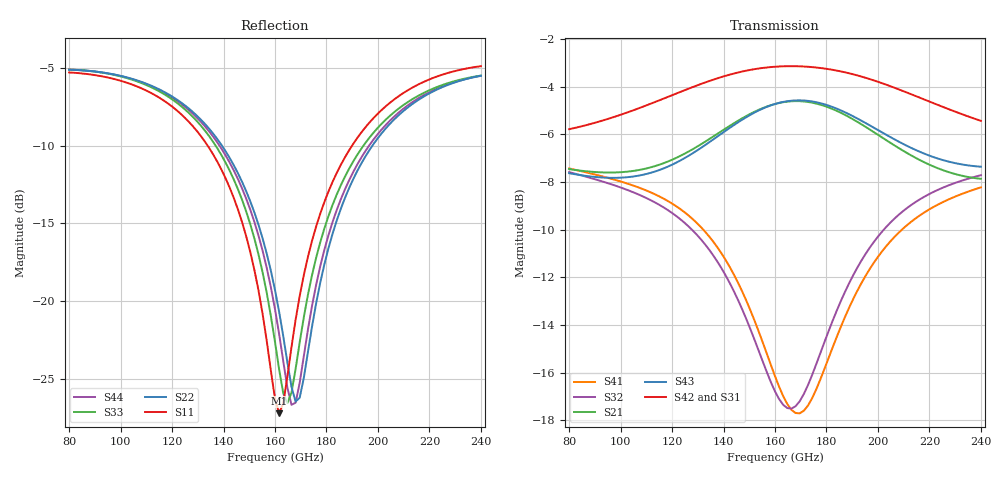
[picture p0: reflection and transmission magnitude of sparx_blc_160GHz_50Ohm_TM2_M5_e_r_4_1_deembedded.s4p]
! Created with skrf 2.0.1 (http://scikit-rf.org).
# GHz S DB R 50.0
!freq dBS11 angS11 dBS12 angS12 dBS13 angS13
! dBS14 angS14
! dBS21 angS21 dBS22 angS22 dBS23 angS23
! dBS24 angS24
! dBS31 angS31 dBS32 angS32 dBS33 angS33
! dBS34 angS34
! dBS41 angS41 dBS42 angS42 dBS43 angS43
! dBS44 angS44
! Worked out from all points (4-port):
!   101 points, 80 GHz to 240 GHz, reference 50 ohm
!   strongest paths, dB at 80 GHz, 120 GHz, 160 GHz, 200 GHz, 240 GHz:
!     S42: -5.8, -4.4, -3.2, -3.8, -5.4
!     S31: -5.7, -4.2, -3.1, -4.1, -5.7
!     S43: -7.6, -7.3, -4.7, -5.8, -7.4
!     S21: -7.5, -7.1, -4.7, -6.0, -7.9
!     S32: -7.6, -9.3, -16.8, -10.3, -7.7
!     S41: -7.4, -8.9, -16.1, -11.1, -8.2
!   lowest |S11| = -27.2 dB at 161.6 GHz (marker M1), VSWR 1.09, Z = 54.4 + j1.04 ohm
!   |S11| at or under -10 dB: 133.8 GHz to 189.9 GHz (56.12 GHz wide, 34.7 % of centre)
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80  -5.29 164.9  -7.45 -46.2  -5.70 -77.0  -7.43 -59.6
    -7.45 -46.2  -5.12 158.2  -7.58 -62.4  -5.78 -79.9
    -5.70 -77.0  -7.58 -62.4  -5.11 157.5  -7.63 -48.6
    -7.43 -59.6  -5.78 -79.9  -7.63 -48.6  -5.11 158.0
136  -10.57 119.1  -6.09 -65.8  -3.53 -139.2  -10.50 -105.8
     -6.09 -65.8  -9.23 110.5  -11.08 -108.3  -3.70 -142.8
     -3.53 -139.2  -11.08 -108.3  -9.76 106.5  -6.21 -67.8
     -10.50 -105.8  -3.70 -142.8  -6.21 -67.8  -9.42 109.0
150.4  -16.84 94.5  -5.14 -76.8  -3.17 -159.2  -13.37 -114.9
       -5.14 -76.8  -13.58 89.9  -14.16 -115.0  -3.29 -162.7
       -3.17 -159.2  -14.16 -115.0  -15.05 82.6  -5.18 -79.1
       -13.37 -114.9  -3.29 -162.7  -5.18 -79.1  -14.12 87.4
161.6  -27.21 12.6  -4.68 -88.0  -3.11 -175.2  -16.59 -108.5
       -4.68 -88.0  -20.67 60.0  -17.11 -103.1  -3.15 -178.7
       -3.11 -175.2  -17.11 -103.1  -24.38 33.7  -4.67 -90.5
       -16.59 -108.5  -3.15 -178.7  -4.67 -90.5  -22.10 52.5
169.6  -19.66 -63.5  -4.60 -96.7  -3.17 173.4  -17.71 -90.2
       -4.60 -96.7  -26.20 -23.3  -17.20 -83.7  -3.14 169.8
       -3.17 173.4  -17.20 -83.7  -22.64 -64.7  -4.57 -99.4
       -17.71 -90.2  -3.14 169.8  -4.57 -99.4  -25.24 -43.7
187.2  -10.74 -97.0  -5.18 -114.7  -3.58 149.3  -13.66 -69.0
       -5.18 -114.7  -13.36 -104.6  -12.61 -71.6  -3.39 144.7
       -3.58 149.3  -12.61 -71.6  -11.99 -112.6  -5.07 -117.7
       -13.66 -69.0  -3.39 144.7  -5.07 -117.7  -12.80 -108.3
240  -4.89 -141.6  -7.86 -140.2  -5.71 88.6  -8.22 -108.4
     -7.86 -140.2  -5.50 -160.2  -7.71 -116.9  -5.43 80.1
     -5.71 88.6  -7.71 -116.9  -5.50 -163.3  -7.35 -146.1
     -8.22 -108.4  -5.43 80.1  -7.35 -146.1  -5.51 -161.8
